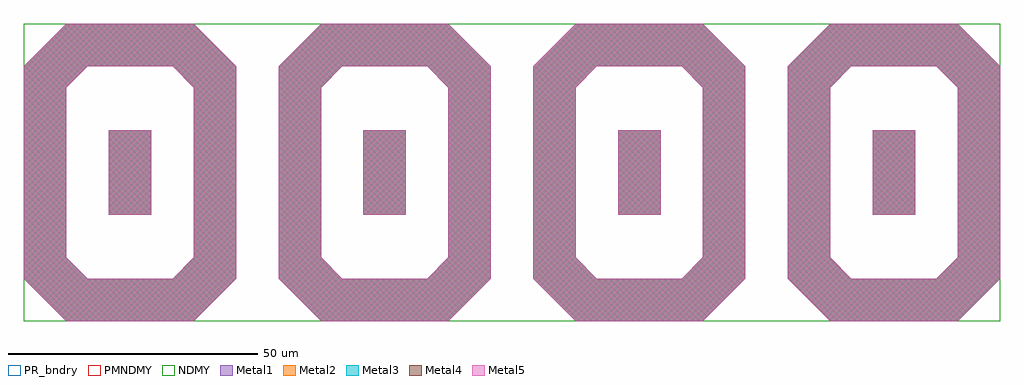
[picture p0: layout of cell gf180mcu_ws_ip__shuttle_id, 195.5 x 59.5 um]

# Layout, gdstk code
import gdstk
lib = gdstk.Library(unit=1e-6, precision=1e-09)
def R(c, l, rs):  # rectangles x0, y0, x1, y1
    for r in rs: c.add(gdstk.rectangle(r[:2], r[2:], *l))
def A(c, l, x, y, w, h, nx, ny, dx, dy):  # array of equal rectangles
    R(c, l, [(x+i*dx, y+j*dy, x+i*dx+w, y+j*dy+h) for i in range(nx) for j in range(ny)])
def P(c, l, *ps):  # polygons
    for p in ps: c.add(gdstk.Polygon(p, *l))
PR_bndry = (0, 0)
Metal1 = (34, 0)
Metal2 = (36, 0)
Metal3 = (42, 0)
Metal4 = (46, 0)
Metal5 = (81, 0)
NDMY = (111, 5)
PMNDMY = (152, 5)

gf180mcu_ws_ip__shuttle_ = lib.new_cell('gf180mcu_ws_ip__shuttle_id')
R(gf180mcu_ws_ip__shuttle_, PR_bndry, [(0,0,195.5,59.5)])
A(gf180mcu_ws_ip__shuttle_, Metal1, 17, 21.25, 8.5, 17, 4, 1, 51, 0)
P(gf180mcu_ws_ip__shuttle_, Metal1, [(8.5,0),(0,8.5),(0,51),(8.5,59.5),(34,59.5),(42.5,51),(12.75,51),(8.5,46.75),(8.5,12.75),(12.75,8.5),(29.75,8.5),(34,12.75),(34,46.75),(29.75,51),(42.5,51),(42.5,8.5),(34,0)],
  [(59.5,0),(51,8.5),(51,51),(59.5,59.5),(85,59.5),(93.5,51),(63.75,51),(59.5,46.75),(59.5,12.75),(63.75,8.5),(80.75,8.5),(85,12.75),(85,46.75),(80.75,51),(93.5,51),(93.5,8.5),(85,0)],
  [(110.5,0),(102,8.5),(102,51),(110.5,59.5),(136,59.5),(144.5,51),(114.75,51),(110.5,46.75),(110.5,12.75),(114.75,8.5),(131.75,8.5),(136,12.75),(136,46.75),(131.75,51),(144.5,51),(144.5,8.5),(136,0)],
  [(161.5,0),(153,8.5),(153,51),(161.5,59.5),(187,59.5),(195.5,51),(165.75,51),(161.5,46.75),(161.5,12.75),(165.75,8.5),(182.75,8.5),(187,12.75),(187,46.75),(182.75,51),(195.5,51),(195.5,8.5),(187,0)])
A(gf180mcu_ws_ip__shuttle_, Metal2, 17, 21.25, 8.5, 17, 4, 1, 51, 0)
P(gf180mcu_ws_ip__shuttle_, Metal2, [(8.5,0),(0,8.5),(0,51),(8.5,59.5),(34,59.5),(42.5,51),(12.75,51),(8.5,46.75),(8.5,12.75),(12.75,8.5),(29.75,8.5),(34,12.75),(34,46.75),(29.75,51),(42.5,51),(42.5,8.5),(34,0)],
  [(59.5,0),(51,8.5),(51,51),(59.5,59.5),(85,59.5),(93.5,51),(63.75,51),(59.5,46.75),(59.5,12.75),(63.75,8.5),(80.75,8.5),(85,12.75),(85,46.75),(80.75,51),(93.5,51),(93.5,8.5),(85,0)],
  [(110.5,0),(102,8.5),(102,51),(110.5,59.5),(136,59.5),(144.5,51),(114.75,51),(110.5,46.75),(110.5,12.75),(114.75,8.5),(131.75,8.5),(136,12.75),(136,46.75),(131.75,51),(144.5,51),(144.5,8.5),(136,0)],
  [(161.5,0),(153,8.5),(153,51),(161.5,59.5),(187,59.5),(195.5,51),(165.75,51),(161.5,46.75),(161.5,12.75),(165.75,8.5),(182.75,8.5),(187,12.75),(187,46.75),(182.75,51),(195.5,51),(195.5,8.5),(187,0)])
A(gf180mcu_ws_ip__shuttle_, Metal3, 17, 21.25, 8.5, 17, 4, 1, 51, 0)
P(gf180mcu_ws_ip__shuttle_, Metal3, [(8.5,0),(0,8.5),(0,51),(8.5,59.5),(34,59.5),(42.5,51),(12.75,51),(8.5,46.75),(8.5,12.75),(12.75,8.5),(29.75,8.5),(34,12.75),(34,46.75),(29.75,51),(42.5,51),(42.5,8.5),(34,0)],
  [(59.5,0),(51,8.5),(51,51),(59.5,59.5),(85,59.5),(93.5,51),(63.75,51),(59.5,46.75),(59.5,12.75),(63.75,8.5),(80.75,8.5),(85,12.75),(85,46.75),(80.75,51),(93.5,51),(93.5,8.5),(85,0)],
  [(110.5,0),(102,8.5),(102,51),(110.5,59.5),(136,59.5),(144.5,51),(114.75,51),(110.5,46.75),(110.5,12.75),(114.75,8.5),(131.75,8.5),(136,12.75),(136,46.75),(131.75,51),(144.5,51),(144.5,8.5),(136,0)],
  [(161.5,0),(153,8.5),(153,51),(161.5,59.5),(187,59.5),(195.5,51),(165.75,51),(161.5,46.75),(161.5,12.75),(165.75,8.5),(182.75,8.5),(187,12.75),(187,46.75),(182.75,51),(195.5,51),(195.5,8.5),(187,0)])
A(gf180mcu_ws_ip__shuttle_, Metal4, 17, 21.25, 8.5, 17, 4, 1, 51, 0)
P(gf180mcu_ws_ip__shuttle_, Metal4, [(8.5,0),(0,8.5),(0,51),(8.5,59.5),(34,59.5),(42.5,51),(12.75,51),(8.5,46.75),(8.5,12.75),(12.75,8.5),(29.75,8.5),(34,12.75),(34,46.75),(29.75,51),(42.5,51),(42.5,8.5),(34,0)],
  [(59.5,0),(51,8.5),(51,51),(59.5,59.5),(85,59.5),(93.5,51),(63.75,51),(59.5,46.75),(59.5,12.75),(63.75,8.5),(80.75,8.5),(85,12.75),(85,46.75),(80.75,51),(93.5,51),(93.5,8.5),(85,0)],
  [(110.5,0),(102,8.5),(102,51),(110.5,59.5),(136,59.5),(144.5,51),(114.75,51),(110.5,46.75),(110.5,12.75),(114.75,8.5),(131.75,8.5),(136,12.75),(136,46.75),(131.75,51),(144.5,51),(144.5,8.5),(136,0)],
  [(161.5,0),(153,8.5),(153,51),(161.5,59.5),(187,59.5),(195.5,51),(165.75,51),(161.5,46.75),(161.5,12.75),(165.75,8.5),(182.75,8.5),(187,12.75),(187,46.75),(182.75,51),(195.5,51),(195.5,8.5),(187,0)])
A(gf180mcu_ws_ip__shuttle_, Metal5, 17, 21.25, 8.5, 17, 4, 1, 51, 0)
P(gf180mcu_ws_ip__shuttle_, Metal5, [(8.5,0),(0,8.5),(0,51),(8.5,59.5),(34,59.5),(42.5,51),(12.75,51),(8.5,46.75),(8.5,12.75),(12.75,8.5),(29.75,8.5),(34,12.75),(34,46.75),(29.75,51),(42.5,51),(42.5,8.5),(34,0)],
  [(59.5,0),(51,8.5),(51,51),(59.5,59.5),(85,59.5),(93.5,51),(63.75,51),(59.5,46.75),(59.5,12.75),(63.75,8.5),(80.75,8.5),(85,12.75),(85,46.75),(80.75,51),(93.5,51),(93.5,8.5),(85,0)],
  [(110.5,0),(102,8.5),(102,51),(110.5,59.5),(136,59.5),(144.5,51),(114.75,51),(110.5,46.75),(110.5,12.75),(114.75,8.5),(131.75,8.5),(136,12.75),(136,46.75),(131.75,51),(144.5,51),(144.5,8.5),(136,0)],
  [(161.5,0),(153,8.5),(153,51),(161.5,59.5),(187,59.5),(195.5,51),(165.75,51),(161.5,46.75),(161.5,12.75),(165.75,8.5),(182.75,8.5),(187,12.75),(187,46.75),(182.75,51),(195.5,51),(195.5,8.5),(187,0)])
R(gf180mcu_ws_ip__shuttle_, NDMY, [(0,0,195.5,59.5)])
R(gf180mcu_ws_ip__shuttle_, PMNDMY, [(0,0,195.5,59.5)])

lib.write_gds('gf180mcu_ws_ip__shuttle_id.gds')
